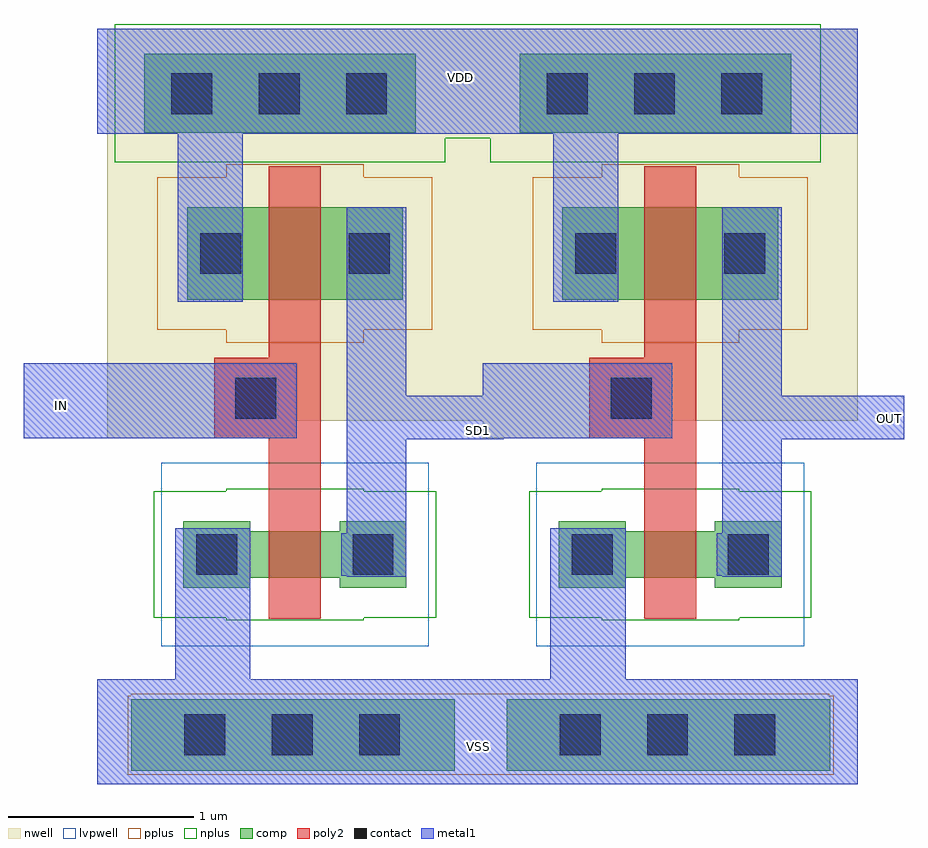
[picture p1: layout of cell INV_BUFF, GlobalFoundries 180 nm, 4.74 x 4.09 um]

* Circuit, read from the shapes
.subckt INV_BUFF IN OUT SD1 VDD VSS
XM1 SD1 IN VSS VSS nfet_03v3 w=0.25u l=0.28u
XM2 OUT SD1 VSS VSS nfet_03v3 w=0.25u l=0.28u
XM3 SD1 IN VDD VDD pfet_03v3 w=0.5u l=0.28u
XM4 OUT SD1 VDD VDD pfet_03v3 w=0.5u l=0.28u
.ends

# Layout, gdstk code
import gdstk
lib = gdstk.Library(unit=1e-6, precision=1e-09)
def R(c, l, rs):  # rectangles x0, y0, x1, y1
    for r in rs: c.add(gdstk.rectangle(r[:2], r[2:], *l))
def A(c, l, x, y, w, h, nx, ny, dx, dy):  # array of equal rectangles
    R(c, l, [(x+i*dx, y+j*dy, x+i*dx+w, y+j*dy+h) for i in range(nx) for j in range(ny)])
nwell = (21, 0)
comp = (22, 0)
poly2 = (30, 0)
pplus = (31, 0)
nplus = (32, 0)
contact = (33, 0)
metal1 = (34, 0)
lvpwell = (204, 0)

pmos_3p3_m8rwps = lib.new_cell('pmos_3p3_M8RWPS')
R(pmos_3p3_m8rwps, nwell, [(-1.01,-0.9,1.01,0.9)])
R(pmos_3p3_m8rwps, comp, [(-0.58,-0.25,0.58,0.25)])
R(pmos_3p3_m8rwps, poly2, [(-0.14,-0.47,0.14,0.47)])
R(pmos_3p3_m8rwps, pplus, [(-0.37,-0.48,0.37,-0.41), (-0.74,-0.41,0.74,0.41), (-0.37,0.41,0.37,0.48)])
R(pmos_3p3_m8rwps, contact, [(-0.51,-0.11,-0.29,0.11), (0.29,-0.11,0.51,0.11)])
R(pmos_3p3_m8rwps, metal1, [(-0.515,-0.24,-0.285,0.24), (0.285,-0.24,0.515,0.24)])

nmos_3p3_h9qvwa = lib.new_cell('nmos_3p3_H9QVWA')
R(nmos_3p3_h9qvwa, comp, [(-0.6,-0.18,-0.24,-0.125), (0.24,-0.18,0.6,-0.125), (-0.6,-0.125,0.6,0.125), (-0.6,0.125,-0.24,0.18), (0.24,0.125,0.6,0.18)])
R(nmos_3p3_h9qvwa, poly2, [(-0.14,-0.345,0.14,0.345)])
R(nmos_3p3_h9qvwa, nplus, [(-0.37,-0.355,0.37,-0.34), (-0.76,-0.34,0.76,0.34), (-0.37,0.34,0.37,0.355)])
R(nmos_3p3_h9qvwa, contact, [(-0.53,-0.11,-0.31,0.11), (0.31,-0.11,0.53,0.11)])
R(nmos_3p3_h9qvwa, metal1, [(-0.59,-0.115,-0.25,0.115), (0.25,-0.115,0.59,0.115)])
R(nmos_3p3_h9qvwa, lvpwell, [(-0.72,-0.495,0.72,0.495)])

inverter = lib.new_cell('Inverter')
R(inverter, nwell, [(-0.59,0.79,0.43,1.195), (0.005,1.195,0.43,1.225), (-0.21,1.525,0.14,2.43), (-0.59,2.43,1.43,2.995)])
R(inverter, comp, [(-0.46,-1,1.28,-0.615), (-0.39,2.435,1.07,2.86)])
R(inverter, poly2, [(0.28,0.51,0.56,0.79), (-0.015,0.79,0.56,1.225), (0.28,1.225,0.56,1.315)])
R(inverter, pplus, [(-0.48,-1.02,1.3,-0.595), (-0.46,-0.595,1.275,-0.585)])
R(inverter, nplus, [(-0.55,2.275,1.23,3.02)])
A(inverter, contact, -0.175, -0.915, 0.22, 0.22, 3, 1, 0.47, 0)
A(inverter, contact, -0.245, 2.535, 0.22, 0.22, 3, 1, 0.47, 0)
R(inverter, contact, [(0.1,0.895,0.32,1.115)])
R(inverter, metal1, [(-0.59,-1.07,1.43,-0.505), (-0.225,-0.505,0.18,0.305), (0.7,0.045,1.02,0.785), (0.7,0.785,1.43,1.02), (-0.59,0.79,0.43,1.195), (0.7,1.02,1.02,2.035), (-0.21,1.525,0.14,2.43), (-0.59,2.43,1.43,2.995)])
inverter.add(gdstk.Reference(pmos_3p3_m8rwps, (0.42,1.785)))
inverter.add(gdstk.Reference(nmos_3p3_h9qvwa, (0.42,0.165)))
inverter.add(gdstk.Label('VDD', (0.335,2.65), layer=22, texttype=0))
inverter.add(gdstk.Label('VSS', (0.405,-0.81), layer=22, texttype=0))
inverter.add(gdstk.Label('IN', (-0.475,0.995), layer=34, texttype=10))
inverter.add(gdstk.Label('OUT', (1.36,0.86), layer=34, texttype=10))

inv_buff = lib.new_cell('INV_BUFF')
R(inv_buff, pplus, [(1.89,0.05,2.13,0.475), (1.865,0.475,2.15,0.485)])
R(inv_buff, nplus, [(1.82,3.475,2.06,4.09)])
R(inv_buff, metal1, [(-0.055,0,0,0.01), (-0.055,0.01,3.99,0.29), (-0.055,0.29,0,0.565), (1.975,1.855,2.135,2.09), (3.805,1.855,4.29,2.09), (-0.45,1.86,0.405,2.265), (-0.055,3.5,0,3.71), (-0.055,3.71,4.025,4.065)])
inv_buff.add(gdstk.Reference(inverter, (0.59,1.07)))
inv_buff.add(gdstk.Reference(inverter, (2.61,1.07)))
inv_buff.add(gdstk.Label('IN', (-0.245,2.035), layer=34, texttype=10))
inv_buff.add(gdstk.Label('OUT', (4.21,1.965), layer=34, texttype=10))
inv_buff.add(gdstk.Label('VDD', (1.9,3.8), layer=34, texttype=10))
inv_buff.add(gdstk.Label('VSS', (2,0.2), layer=34, texttype=10))
inv_buff.add(gdstk.Label('SD1', (2,1.9), layer=34, texttype=10))

lib.write_gds('INV_BUFF.gds')
